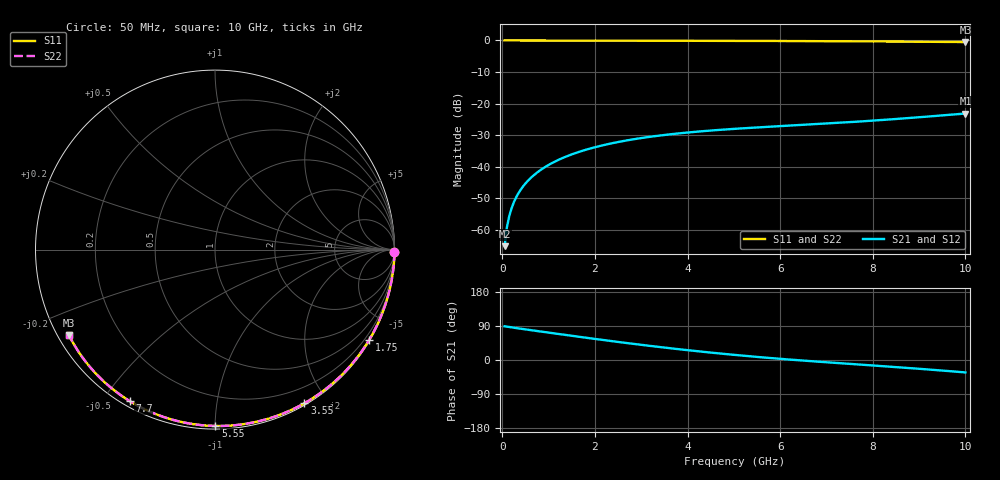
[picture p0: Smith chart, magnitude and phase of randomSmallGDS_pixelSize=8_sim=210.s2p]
! freq	dB(S11)	phase(S11)	dB(S12)	phase(S12)
!  dB(S21)	phase(S21)	dB(S22)	phase(S22)
!S-par simulation data
#  GHz  S  DB  R 50
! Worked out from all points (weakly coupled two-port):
!   200 points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, 50 MHz to 10 GHz, reference 50 ohm
!   highest |S21| = -23.16 dB at 10 GHz (marker M1); lowest = -65.2 dB at 50 MHz (marker M2)
!   lowest |S11| = -0.5 dB at 10 GHz (marker M3), VSWR 34.27, Z = 1.57 - j13.6 ohm
!   |S11| at or under -10 dB: nowhere
!   |S22| runs from -0.5 to 0.0 dB; largest |S21 - S12| = 0
!   S11 on the Smith chart (normalised r, x): 50 MHz: open; 1.75 GHz: 0.03, -3.69; 3.55 GHz: 0.02, -1.74; 5.55 GHz: 0.02, -1.00; 7.7 GHz: 0.02, -0.58; 10 GHz: 0.03, -0.27
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0.05  -0.00 -0.9  -65.21 89.0  -65.21 89.0  -0.00 -0.9
0.1  -0.00 -1.8  -59.20 88.0  -59.20 88.0  -0.00 -1.8
0.15  -0.00 -2.6  -55.69 87.0  -55.69 87.0  -0.00 -2.7
0.2  -0.00 -3.5  -53.20 86.1  -53.20 86.1  -0.00 -3.5
0.25  -0.00 -4.4  -51.28 85.2  -51.28 85.2  -0.00 -4.4
0.35  -0.00 -6.2  -48.39 83.4  -48.39 83.4  -0.00 -6.2
0.5  -0.01 -8.8  -45.34 80.8  -45.34 80.8  -0.01 -8.8
0.7  -0.01 -12.3  -42.47 77.4  -42.47 77.4  -0.01 -12.3
1  -0.02 -17.5  -39.46 72.3  -39.46 72.3  -0.02 -17.5
1.35  -0.03 -23.5  -36.97 66.4  -36.97 66.4  -0.03 -23.5
1.75  -0.04 -30.3  -34.88 59.7  -34.88 59.7  -0.04 -30.4
2.5  -0.06 -42.9  -32.19 47.7  -32.19 47.7  -0.06 -42.9
3.4  -0.08 -57.5  -30.14 34.2  -30.14 34.2  -0.08 -57.5
3.55  -0.08 -59.8  -29.87 32.1  -29.87 32.1  -0.08 -59.9
4.3  -0.11 -71.4  -28.79 22.1  -28.79 22.1  -0.11 -71.5
5.05  -0.13 -82.7  -27.98 13.1  -27.98 13.1  -0.13 -82.7
5.55  -0.15 -89.9  -27.53 7.6  -27.53 7.6  -0.15 -90.0
6.7  -0.21 -106.0  -26.59 -3.4  -26.59 -3.4  -0.21 -106.1
7.7  -0.28 -119.4  -25.71 -11.9  -25.71 -11.9  -0.28 -119.5
8.35  -0.33 -128.0  -25.05 -17.4  -25.05 -17.4  -0.33 -128.1
9.2  -0.41 -139.1  -24.11 -25.0  -24.11 -25.0  -0.41 -139.2
10  -0.51 -149.6  -23.16 -32.8  -23.16 -32.8  -0.51 -149.7
